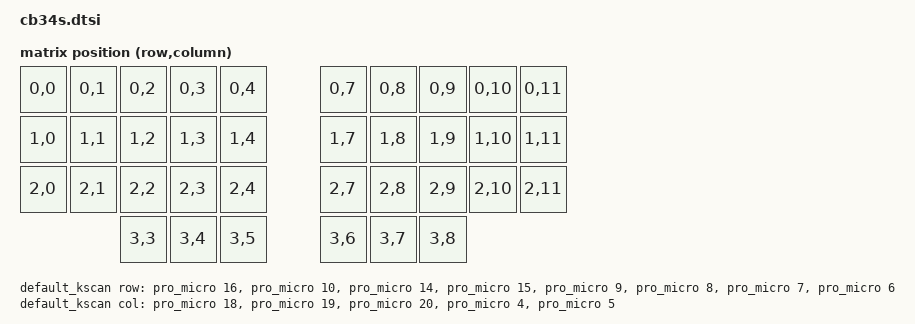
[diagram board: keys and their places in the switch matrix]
#include <dt-bindings/zmk/matrix_transform.h>

/ {
    chosen {
        zmk,kscan = &default_kscan;
        zmk,matrix_transform = &default_transform;
    };

    default_kscan: kscan {
        compatible = "zmk,kscan-gpio-matrix";
        label = "default_kscan";
        diode-direction = "row2col";
        col-gpios
            = <&pro_micro 18 (GPIO_ACTIVE_HIGH | GPIO_PULL_DOWN)> // COL0
            , <&pro_micro 19 (GPIO_ACTIVE_HIGH | GPIO_PULL_DOWN)> // COL1
            , <&pro_micro 20 (GPIO_ACTIVE_HIGH | GPIO_PULL_DOWN)> // COL2
            , <&pro_micro  4 (GPIO_ACTIVE_HIGH | GPIO_PULL_DOWN)> // COL3
            , <&pro_micro  5 (GPIO_ACTIVE_HIGH | GPIO_PULL_DOWN)> // COL4
        ;
        row-gpios
            = <&pro_micro 16 (GPIO_ACTIVE_HIGH)> // ROW0
            , <&pro_micro 10 (GPIO_ACTIVE_HIGH)> // ROW1
            , <&pro_micro 14 (GPIO_ACTIVE_HIGH)> // ROW2
            , <&pro_micro 15 (GPIO_ACTIVE_HIGH)> // ROW3
            , <&pro_micro  9 (GPIO_ACTIVE_HIGH)> // ROW4
            , <&pro_micro  8 (GPIO_ACTIVE_HIGH)> // ROW5
            , <&pro_micro  7 (GPIO_ACTIVE_HIGH)> // ROW6
            , <&pro_micro  6 (GPIO_ACTIVE_HIGH)> // ROW7
        ;
    };

    default_transform: matrix_transform {
        compatible = "zmk,matrix-transform";
        columns = <5>;
        rows = <8>;
        map = <
            RC(0,0) RC(0,1) RC(0,2) RC(0,3) RC(0,4) RC(0,7) RC(0,8) RC(0,9) RC(0,10) RC(0,11)
            RC(1,0) RC(1,1) RC(1,2) RC(1,3) RC(1,4) RC(1,7) RC(1,8) RC(1,9) RC(1,10) RC(1,11)
            RC(2,0) RC(2,1) RC(2,2) RC(2,3) RC(2,4) RC(2,7) RC(2,8) RC(2,9) RC(2,10) RC(2,11)
                                    RC(3,3) RC(3,4) RC(3,5)    RC(3,6) RC(3,7) RC(3,8)
        >;
    };
};
